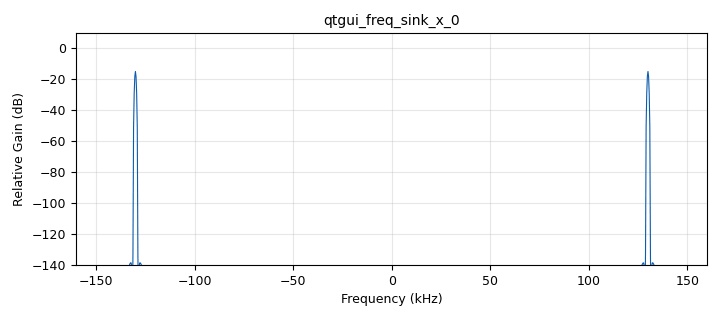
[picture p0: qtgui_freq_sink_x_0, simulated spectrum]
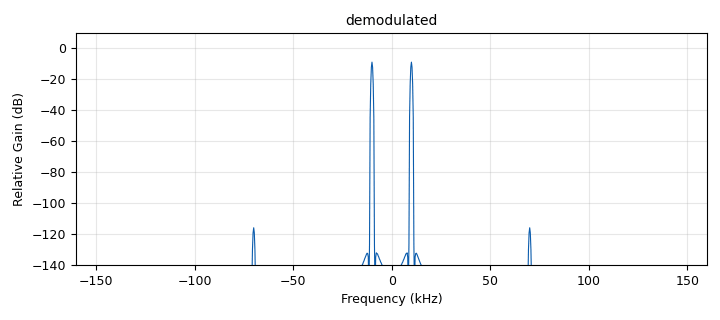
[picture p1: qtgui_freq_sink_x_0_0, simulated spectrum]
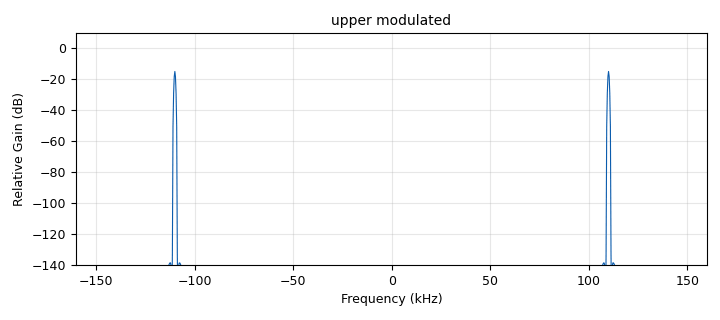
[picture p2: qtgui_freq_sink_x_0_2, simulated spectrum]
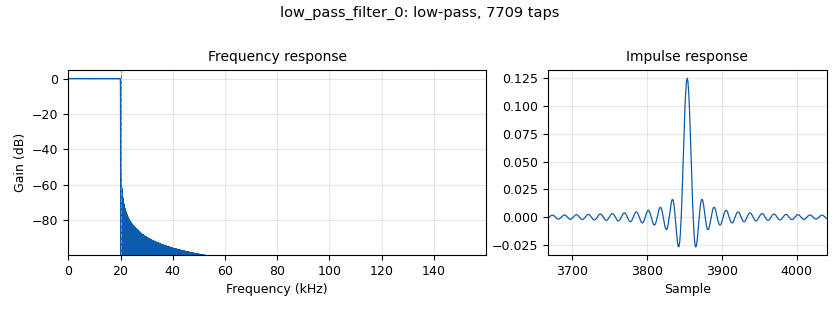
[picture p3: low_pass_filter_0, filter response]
options:
  parameters:
    generate_options: qt_gui
    id: ssc
    output_language: python
    title: Not titled yet
  states: {}

blocks:
- name: samp_rate
  id: variable
  parameters:
    value: '320000'
  states: {}
- name: analog_sig_source_x_0
  id: analog_sig_source_x
  parameters:
    amp: '1'
    freq: '10000'
    offset: '0'
    phase: '0'
    samp_rate: samp_rate
    type: float
    waveform: analog.GR_COS_WAVE
  states: {}
- name: analog_sig_source_x_0_0
  id: analog_sig_source_x
  parameters:
    amp: '1'
    freq: '200000'
    offset: '0'
    phase: '0'
    samp_rate: samp_rate
    type: complex
    waveform: analog.GR_COS_WAVE
  states: {}
- name: analog_sig_source_x_0_0_0
  id: analog_sig_source_x
  parameters:
    amp: '1'
    freq: '200000'
    offset: '0'
    phase: '0'
    samp_rate: samp_rate
    type: float
    waveform: analog.GR_COS_WAVE
  states: {state: disabled}
- name: analog_sig_source_x_0_1
  id: analog_sig_source_x
  parameters:
    amp: '1'
    freq: '10000'
    offset: '0'
    phase: '0'
    samp_rate: samp_rate
    type: float
    waveform: analog.GR_SIN_WAVE
  states: {}
- name: analog_sig_source_x_0_1_0
  id: analog_sig_source_x
  parameters:
    amp: '1'
    freq: '200000'
    offset: '0'
    phase: '0'
    samp_rate: samp_rate
    type: float
    waveform: analog.GR_SIN_WAVE
  states: {state: disabled}
- name: analog_sig_source_x_0_1_0_0
  id: analog_sig_source_x
  parameters:
    amp: '1'
    freq: '200000'
    offset: '0'
    phase: '0'
    samp_rate: samp_rate
    type: float
    waveform: analog.GR_SIN_WAVE
  states: {state: disabled}
- name: analog_sig_source_x_0_2
  id: analog_sig_source_x
  parameters:
    amp: '1'
    freq: '200000'
    offset: '0'
    phase: '0'
    samp_rate: samp_rate
    type: float
    waveform: analog.GR_COS_WAVE
  states: {}
- name: analog_sig_source_x_0_3
  id: analog_sig_source_x
  parameters:
    amp: '1'
    freq: '10000'
    offset: '0'
    phase: '0'
    samp_rate: samp_rate
    type: float
    waveform: analog.GR_COS_WAVE
  states: {state: disabled}
- name: analog_sig_source_x_0_3_0
  id: analog_sig_source_x
  parameters:
    amp: '1'
    freq: '10000'
    offset: '0'
    phase: '0'
    samp_rate: samp_rate
    type: float
    waveform: analog.GR_COS_WAVE
  states: {state: disabled}
- name: blocks_add_xx_0
  id: blocks_add_xx
  parameters:
    type: float
  states: {}
- name: blocks_add_xx_0_0
  id: blocks_add_xx
  parameters:
    type: float
  states: {state: disabled}
- name: blocks_add_xx_0_0_0
  id: blocks_add_xx
  parameters:
    type: float
  states: {state: disabled}
- name: blocks_complex_to_float_0
  id: blocks_complex_to_float
  parameters: {}
  states: {}
- name: blocks_complex_to_float_1
  id: blocks_complex_to_float
  parameters: {}
  states: {state: disabled}
- name: blocks_multiply_const_vxx_0
  id: blocks_multiply_const_vxx
  parameters:
    const: '4'
    type: float
  states: {}
- name: blocks_multiply_xx_0
  id: blocks_multiply_xx
  parameters:
    type: float
  states: {}
- name: blocks_multiply_xx_0_0
  id: blocks_multiply_xx
  parameters:
    type: float
  states: {}
- name: blocks_multiply_xx_0_0_0
  id: blocks_multiply_xx
  parameters:
    type: float
  states: {state: disabled}
- name: blocks_multiply_xx_0_0_0_0
  id: blocks_multiply_xx
  parameters:
    type: float
  states: {state: disabled}
- name: blocks_multiply_xx_0_1
  id: blocks_multiply_xx
  parameters:
    type: float
  states: {state: disabled}
- name: blocks_multiply_xx_1
  id: blocks_multiply_xx
  parameters:
    type: float
  states: {}
- name: blocks_sub_xx_0
  id: blocks_sub_xx
  parameters:
    type: float
  states: {state: disabled}
- name: blocks_sub_xx_1
  id: blocks_sub_xx
  parameters:
    type: float
  states: {}
- name: hilbert_fc_0_0
  id: hilbert_fc
  parameters:
    num_taps: '65'
  states: {state: disabled}
- name: low_pass_filter_0
  id: low_pass_filter
  parameters:
    cutoff_freq: '20000'
    decim: '1'
    gain: '1'
    samp_rate: samp_rate
    type: fir_filter_fff
    width: '100'
    win: window.WIN_HAMMING
  states: {}
- name: qtgui_freq_sink_x_0
  id: qtgui_freq_sink_x
  parameters:
    bw: samp_rate
    fc: '0'
    fftsize: '1024'
    type: float
  states: {}
- name: qtgui_freq_sink_x_0_0
  id: qtgui_freq_sink_x
  parameters:
    bw: samp_rate
    fc: '0'
    fftsize: '1024'
    name: demodulated
    type: float
  states: {}
- name: qtgui_freq_sink_x_0_1
  id: qtgui_freq_sink_x
  parameters:
    bw: samp_rate
    fc: '0'
    fftsize: '1024'
    name: modulated
    type: float
  states: {state: disabled}
- name: qtgui_freq_sink_x_0_1_0
  id: qtgui_freq_sink_x
  parameters:
    bw: samp_rate
    fc: '0'
    fftsize: '1024'
    name: modulated down
    type: float
  states: {state: disabled}
- name: qtgui_freq_sink_x_0_2
  id: qtgui_freq_sink_x
  parameters:
    bw: samp_rate
    fc: '0'
    fftsize: '1024'
    name: upper modulated
    type: float
  states: {}
- name: virtual_sink_0
  id: virtual_sink
  parameters:
    stream_id: '1'
  states: {}
- name: virtual_sink_0_0
  id: virtual_sink
  parameters:
    stream_id: '1'
  states: {state: disabled}
- name: virtual_source_0
  id: virtual_source
  parameters:
    stream_id: '1'
  states: {}

connections:
- [analog_sig_source_x_0, '0', blocks_multiply_xx_0, '0']
- [analog_sig_source_x_0_0, '0', blocks_complex_to_float_0, '0']
- [analog_sig_source_x_0_0_0, '0', blocks_multiply_xx_0_1, '0']
- [analog_sig_source_x_0_1, '0', blocks_multiply_xx_0_0, '1']
- [analog_sig_source_x_0_1_0, '0', blocks_multiply_xx_0_0_0, '1']
- [analog_sig_source_x_0_1_0_0, '0', blocks_multiply_xx_0_0_0_0, '0']
- [analog_sig_source_x_0_2, '0', blocks_multiply_xx_1, '0']
- [analog_sig_source_x_0_3, '0', blocks_multiply_xx_0_1, '1']
- [analog_sig_source_x_0_3_0, '0', hilbert_fc_0_0, '0']
- [blocks_add_xx_0, '0', qtgui_freq_sink_x_0, '0']
- [blocks_add_xx_0, '0', virtual_sink_0, '0']
- [blocks_add_xx_0_0, '0', blocks_add_xx_0_0_0, '1']
- [blocks_add_xx_0_0, '0', blocks_sub_xx_0, '1']
- [blocks_add_xx_0_0_0, '0', qtgui_freq_sink_x_0_1_0, '0']
- [blocks_complex_to_float_0, '0', blocks_multiply_xx_0, '1']
- [blocks_complex_to_float_0, '1', blocks_multiply_xx_0_0, '0']
- [blocks_complex_to_float_1, '0', blocks_multiply_xx_0_0_0_0, '1']
- [blocks_complex_to_float_1, '1', blocks_multiply_xx_0_0_0, '0']
- [blocks_multiply_const_vxx_0, '0', qtgui_freq_sink_x_0_0, '0']
- [blocks_multiply_xx_0, '0', blocks_add_xx_0, '0']
- [blocks_multiply_xx_0, '0', blocks_sub_xx_1, '0']
- [blocks_multiply_xx_0_0, '0', blocks_add_xx_0, '1']
- [blocks_multiply_xx_0_0, '0', blocks_sub_xx_1, '1']
- [blocks_multiply_xx_0_0_0, '0', blocks_add_xx_0_0, '1']
- [blocks_multiply_xx_0_0_0_0, '0', blocks_add_xx_0_0, '0']
- [blocks_multiply_xx_0_1, '0', blocks_add_xx_0_0_0, '0']
- [blocks_multiply_xx_0_1, '0', blocks_sub_xx_0, '0']
- [blocks_multiply_xx_1, '0', low_pass_filter_0, '0']
- [blocks_sub_xx_0, '0', qtgui_freq_sink_x_0_1, '0']
- [blocks_sub_xx_0, '0', virtual_sink_0_0, '0']
- [blocks_sub_xx_1, '0', qtgui_freq_sink_x_0_2, '0']
- [hilbert_fc_0_0, '0', blocks_complex_to_float_1, '0']
- [low_pass_filter_0, '0', blocks_multiply_const_vxx_0, '0']
- [virtual_source_0, '0', blocks_multiply_xx_1, '1']

metadata:
  file_format: 1
  grc_version: 3.10.7.0
